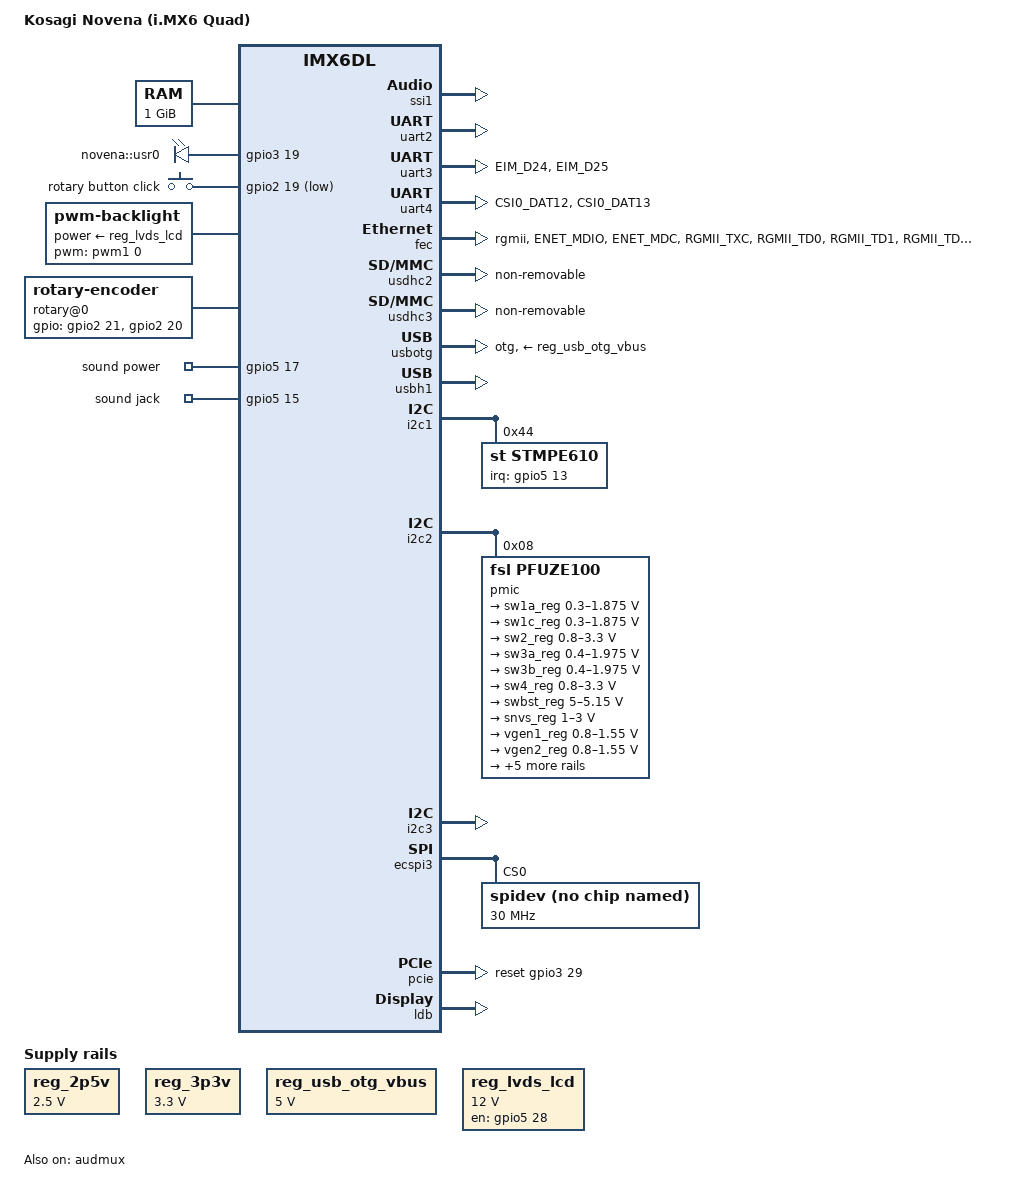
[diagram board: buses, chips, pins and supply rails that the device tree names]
/*
 * Copyright 2012 Freescale Semiconductor, Inc.
 * Copyright 2011 Linaro Ltd.
 *
 * The code contained herein is licensed under the GNU General Public
 * License. You may obtain a copy of the GNU General Public License
 * Version 2 or later at the following locations:
 *
 * http://www.opensource.org/licenses/gpl-license.html
 * http://www.gnu.org/copyleft/gpl.html
 */

/dts-v1/;
/*#include "imx6q.dtsi"*/
#include "imx6dl.dtsi"

/ {
	model = "Kosagi Novena (i.MX6 Quad)";
	/*	compatible = "fsl,imx6q-novena", "fsl,imx6q"; */
	compatible = "fsl,imx6q-novena", "fsl,imx6q", "fsl,imx6dl"; 
        chosen {
                bootargs = "console=ttymxc1,115200 earlyprintk root=/dev/mmcblk0p2 rootwait rootfstype=ext4 ignore_loglevel";
        };

	memory {
		reg = <0x10000000 0x40000000>;
	};

	soc {
		gpu {
			compatible = "fsl,imx6q-gpu";
			clocks = <&clks 122>, <&clks 74>, <&clks 27>,
				<&clks 121>, <&clks 26>,
				<&clks 143>;
			clock-names = "gpu3d_clk", "gpu3d_shader_clk", "gpu3d_axi_clk",
				"gpu2d_clk", "gpu2d_axi_clk",
				"openvg_axi_clk";
			interrupts = <0 9 0x04>, <0 10 0x04>, <0 11 0x04>;
			interrupt-names = "irq-3d", "irq-2d", "irq-vg";
			reg = <0 0>, <0x00130000 0x4000>, <0x00134000 0x4000>, <0x02204000 0x4000>;
			reg-names = "phys-addr", "iobase-3d", "iobase-2d", "iobase-vg";
		};

		vpu {
			compatible = "fsl,imx6q-vpu";
			clocks = <&clks 122>, <&clks 74>, <&clks 27>,
				<&clks 121>, <&clks 26>,
				<&clks 143>,
				<&clks 168>, <&clks 168>;
			clock-names = "gpu3d_core", "gpu3d_shader", "gpu3d_axi_clk",
				"gpu2d_core", "gpu2d_axi",
				"openvg_axi",
				"vpu_axi", "vpu_clk";
			interrupts = <0 12 0x04>, <0 3 0x04>;
			interrupt-names = "vpu_ipi_irq", "vpu_jpu_irq";
			reg = <0x02040000 0x4000>;
			reg-names = "vpu_regs";
			iram-size = <0x21000>;
		};
	};

	regulators {
		compatible = "simple-bus";

		reg_2p5v: 2p5v {
			compatible = "regulator-fixed";
			regulator-name = "2P5V";
			regulator-min-microvolt = <2500000>;
			regulator-max-microvolt = <2500000>;
			regulator-always-on;
		};

		reg_3p3v: 3p3v {
			compatible = "regulator-fixed";
			regulator-name = "3P3V";
			regulator-min-microvolt = <3300000>;
			regulator-max-microvolt = <3300000>;
			regulator-always-on;
		};

		reg_usb_otg_vbus: usb_otg_vbus {
			compatible = "regulator-fixed";
			regulator-name = "usb_otg_vbus";
			regulator-min-microvolt = <5000000>;
			regulator-max-microvolt = <5000000>;
			//gpio = <&gpio3 22 0>;
			enable-active-high;
		};

		reg_lvds_lcd: lcd-regulator {
			compatible = "regulator-fixed";

			regulator-name = "lcd-lvds-power";
			regulator-boot-on;
			regulator-min-microvolt = <12000000>;
			regulator-max-microvolt = <12000000>;
			startup-delay-us = <500000>;

			gpio = <&gpio5 28 0>;
			enable-active-high;
		};
	};

	leds {
		compatible = "gpio-leds";
		heartbeat {
			label = "novena::usr0";
			gpios = <&gpio3 19 0>;
			linux,default-trigger = "heartbeat";
		};
	};

	gpio_keys {
		compatible = "gpio-keys";
		/*
		button@1 {
			label = "user button 1";
			linux,code = <0x100>;
			gpios = <&gpio2 22 0>;
			debounce-interval = <20>;
			gpio-key,wakeup = <1>;
		};
		*/

		rotary_click@1 {
			label = "rotary button click";
			linux,code = <0x1c>;
			gpios = <&gpio2 19 1>;
			debounce-interval = <20>;
			gpio-key,wakeup = <1>;
		};
	};

        backlight {
                compatible = "pwm-backlight";
                pwms = <&pwm1 0 100000>;
                brightness-levels = <0 3 6 12 16 24 32 48 64 96 128 192 255>;
                default-brightness-level = <12>;
		power-supply = <&reg_lvds_lcd>;
		status = "okay";
        };

	rotary@0 {
		compatible = "rotary-encoder";
		gpios = <&gpio2 21 0>, <&gpio2 20 0>;
		linux,axis = <8>; /* REL_WHEEL */
		rotary-encoder,relative-axis;
		rotary-encoder,half-period;
	};

	sound {
		compatible = "fsl,imx-audio-novena";
		model = "imx-audio-novena";
		clocks = <&clks 169>, <&clks 57>, <&clks 173>, <&clks 203>, <&clks 201>;
                clock-names = "cko1", "cko1_sel", "pll4_audio", "pll4_post_div", "cko_sel";
		ssi-controller = <&ssi1>;
		audio-codec = <&codec>;
		power-gpio = <&gpio5 17 0>;
		jack-gpio = <&gpio5 15 0>;
		audio-routing =
			"MIC_IN", "Mic Jack",
			"Mic Jack", "Mic Bias",
			"Headphone Jack", "HP_OUT",
			"Ext Spk", "SPK_OUT";
		mux-int-port = <1>;
		mux-ext-port = <3>;
	};

};

&ssi1 {
	fsl,mode = "i2s-slave";
	status = "okay";
};

&uart2 {
	status = "okay";
	pinctrl-names = "default";
	pinctrl-0 = <&pinctrl_uart2_1>;
};

&uart3 {
	status = "okay";
	pinctrl-names = "default";
	pinctrl-0 = <&pinctrl_uart3_novena>;
};

&uart4 {
	status = "okay";
	pinctrl-names = "default";
	pinctrl-0 = <&pinctrl_uart4_2>;
};

&iomuxc {
	pinctrl-names = "default";
	pinctrl-0 = <&pinctrl_hog>;

	hog {
		pinctrl_hog: hoggrp {
			fsl,pins = <
				/* Here to prevent I2C from leaking */
				MX6QDL_PAD_GPIO_3__GPIO1_IO03 0x80000000
				MX6QDL_PAD_GPIO_5__GPIO1_IO05 0x80000000
				MX6QDL_PAD_GPIO_6__GPIO1_IO06 0x80000000

				/* Audio power switch */
				MX6QDL_PAD_DISP0_DAT23__GPIO5_IO17 0x80000000 /* Write protect */

				/* uSDHC2 */
				MX6QDL_PAD_GPIO_2__GPIO1_IO02   0x80000000 /* Write protect */
				MX6QDL_PAD_GPIO_4__GPIO1_IO04   0x80000000 /* Card detect */

				/* Ethernet reset */
				MX6QDL_PAD_EIM_D23__GPIO3_IO23  0x80000000

				/* Headphone plug */
				MX6QDL_PAD_DISP0_DAT21__GPIO5_IO15 0x80000000
				MX6QDL_PAD_GPIO_0__CCM_CLKO1       0x80000000

				/* Touchscreen interrupt */
				MX6QDL_PAD_DISP0_DAT19__GPIO5_IO13 0x80000000

				/* GPIO LED */
				MX6QDL_PAD_EIM_D19__GPIO3_IO19  0x80000000

				/* PCI express */
				MX6QDL_PAD_EIM_D22__GPIO3_IO22  0x80000000 /* Wakeup */
				MX6QDL_PAD_EIM_D29__GPIO3_IO29  0x80000000 /* Reset */
				MX6QDL_PAD_GPIO_17__GPIO7_IO12  0x80000000 /* Power On */
				MX6QDL_PAD_EIM_A22__GPIO2_IO16  0x80000000 /* Wifi kill */

				/* FPGA power */
				MX6QDL_PAD_SD1_DAT1__GPIO1_IO17 0x80000000

				/* Taking these pins away from UART4 */
				MX6QDL_PAD_KEY_COL0__GPIO4_IO06 0x80000000
				MX6QDL_PAD_KEY_ROW0__GPIO4_IO07 0x80000000

				/* FPGA GPIOs */
				MX6QDL_PAD_EIM_A16__GPIO2_IO22	0x80000000
				MX6QDL_PAD_EIM_A17__GPIO2_IO21	0x80000000
				MX6QDL_PAD_EIM_A18__GPIO2_IO20	0x80000000
				MX6QDL_PAD_EIM_A19__GPIO2_IO19  0x80000000
				MX6QDL_PAD_EIM_CS0__GPIO2_IO23	0x80000000
				MX6QDL_PAD_EIM_CS1__GPIO2_IO24	0x80000000
				MX6QDL_PAD_EIM_DA0__GPIO3_IO00	0x80000000
				MX6QDL_PAD_EIM_DA1__GPIO3_IO01	0x80000000
				MX6QDL_PAD_EIM_DA10__GPIO3_IO10	0x80000000
				MX6QDL_PAD_EIM_DA11__GPIO3_IO11	0x80000000
				MX6QDL_PAD_EIM_DA12__GPIO3_IO12	0x80000000
				MX6QDL_PAD_EIM_DA13__GPIO3_IO13	0x80000000
				MX6QDL_PAD_EIM_DA14__GPIO3_IO14	0x80000000
				MX6QDL_PAD_EIM_DA15__GPIO3_IO15	0x80000000
				MX6QDL_PAD_EIM_DA2__GPIO3_IO02	0x80000000
				MX6QDL_PAD_EIM_DA3__GPIO3_IO03	0x80000000
				MX6QDL_PAD_EIM_DA4__GPIO3_IO04	0x80000000
				MX6QDL_PAD_EIM_DA5__GPIO3_IO05	0x80000000
				MX6QDL_PAD_EIM_DA6__GPIO3_IO06	0x80000000
				MX6QDL_PAD_EIM_DA7__GPIO3_IO07	0x80000000
				MX6QDL_PAD_EIM_DA8__GPIO3_IO08	0x80000000
				MX6QDL_PAD_EIM_DA9__GPIO3_IO09	0x80000000
				MX6QDL_PAD_EIM_EB0__GPIO2_IO28	0x80000000
				MX6QDL_PAD_EIM_EB1__GPIO2_IO29	0x80000000
				MX6QDL_PAD_EIM_LBA__GPIO2_IO27	0x80000000
				MX6QDL_PAD_EIM_OE__GPIO2_IO25	0x80000000
				MX6QDL_PAD_EIM_RW__GPIO2_IO26	0x80000000
				MX6QDL_PAD_EIM_WAIT__GPIO5_IO00	0x80000000
				MX6QDL_PAD_DISP0_DAT3__GPIO4_IO24	0x80000000
				MX6QDL_PAD_DISP0_DAT4__GPIO4_IO25	0x80000000
				MX6QDL_PAD_DISP0_DAT5__GPIO4_IO26	0x80000000
				MX6QDL_PAD_DISP0_DAT6__GPIO4_IO27	0x80000000
				MX6QDL_PAD_DISP0_DAT7__GPIO4_IO28	0x80000000
				MX6QDL_PAD_DISP0_DAT11__GPIO5_IO05	0x80000000
				MX6QDL_PAD_SD1_DAT3__GPIO1_IO21	0x80000000
				MX6QDL_PAD_DI0_PIN15__GPIO4_IO17	0x80000000
				MX6QDL_PAD_DI0_PIN3__GPIO4_IO19	0x80000000
			>;
		};
	};

	enet {
		pinctrl_enet_novena: enetgrp-novena {
			fsl,pins = <
				MX6QDL_PAD_ENET_MDIO__ENET_MDIO       0x1b0b0
				MX6QDL_PAD_ENET_MDC__ENET_MDC         0x1b0b0
				//MX6QDL_PAD_RGMII_TXC__RGMII_TXC_DDR3  0x1b020
				MX6QDL_PAD_RGMII_TXC__RGMII_TXC       0x1b020
				MX6QDL_PAD_RGMII_TD0__RGMII_TD0       0x1b028
				MX6QDL_PAD_RGMII_TD1__RGMII_TD1       0x1b028
				MX6QDL_PAD_RGMII_TD2__RGMII_TD2       0x1b028
				MX6QDL_PAD_RGMII_TD3__RGMII_TD3       0x1b028
				MX6QDL_PAD_RGMII_TX_CTL__RGMII_TX_CTL 0x1b028
				MX6QDL_PAD_ENET_REF_CLK__ENET_TX_CLK  0x1b0b0
				MX6QDL_PAD_RGMII_RXC__RGMII_RXC       0x1b0b0
				MX6QDL_PAD_RGMII_RD0__RGMII_RD0       0x1b0b0
				MX6QDL_PAD_RGMII_RD1__RGMII_RD1       0x1b0b0
				MX6QDL_PAD_RGMII_RD2__RGMII_RD2       0x1b0b0
				MX6QDL_PAD_RGMII_RD3__RGMII_RD3       0x1b0b0
				MX6QDL_PAD_RGMII_RX_CTL__RGMII_RX_CTL 0x1b0b0
				MX6QDL_PAD_GPIO_16__ENET_REF_CLK      0x4001b0a8
			>;
		};
	};

	uart4 {
		pinctrl_uart4_2: uart4grp-2 {
			fsl,pins = <
				MX6QDL_PAD_CSI0_DAT12__UART4_TX_DATA 0x1b0b1
				MX6QDL_PAD_CSI0_DAT13__UART4_RX_DATA 0x1b0b1
			>;
		};
	};

	uart3 {
		pinctrl_uart3_novena: uart3grp-novena {
			fsl,pins = <
				MX6QDL_PAD_EIM_D24__UART3_TX_DATA 0x1b0b1
				MX6QDL_PAD_EIM_D25__UART3_RX_DATA 0x1b0b1
			>;
		};
	};
};

&fec {
	pinctrl-names = "default";
	pinctrl-0 = <&pinctrl_enet_novena>;
	phy-mode = "rgmii";
	phy-reset-gpios = <&gpio3 23 0>;
	mac-address = [00 22 C6 87 72 03];
	rxc-skew-ps = <3000>;
	rxdv-skew-ps = <0>;
	txc-skew-ps = <3000>;
	txen-skew-ps = <0>;
	rxd0-skew-ps = <0>;
	rxd1-skew-ps = <0>;
	rxd2-skew-ps = <0>;
	rxd3-skew-ps = <0>;
	txd0-skew-ps = <3000>;
	txd1-skew-ps = <3000>;
	txd2-skew-ps = <3000>;
	txd3-skew-ps = <3000>;
	status = "okay";
};

&usdhc2 {
	pinctrl-names = "default";
	pinctrl-0 = <&pinctrl_usdhc2_1>;
	non-removable;
	status = "okay";
};

&usdhc3 {
	pinctrl-names = "default";
	pinctrl-0 = <&pinctrl_usdhc3_1>;
	non-removable;
	status = "okay";
};

&usbotg {
	vbus-supply = <&reg_usb_otg_vbus>;
	dr_mode = "otg";
	pinctrl-names = "default";
	pinctrl-0 = <&pinctrl_usbotg_2>;
	disable-over-current;
	status = "okay";
};

&usbh1 {
	status = "okay";
};

&audmux {
	status = "okay";
	pinctrl-names = "default";
	pinctrl-0 = <&pinctrl_audmux_2>;
};

&i2c1 {
	pinctrl-names = "default";
	pinctrl-0 = <&pinctrl_i2c1_1>;
	status = "okay";

	stmpe610@0 {
		compatible = "st,stmpe610";
		#address-cells = <1>;
		#size-cells = <0>;
		reg = <0x44>;
		interrupts = <13 0x0>;
		interrupt-parent = <&gpio5>;
		id = <0>;
		irq-trigger = <0x1>;

		/*
		 * Note: Must invert in Xinput with:
		 * xinput set-prop 8 'Evdev Axis Inversion' 1 0
		 */
		stmpe_touchscreen {
			compatible = "st,stmpe-ts";
			st,sample-time = <4>;
			st,mod-12b = <1>;
			st,ref-sel = <0>;
			st,adc-freq = <1>;

			st,ave-ctrl = <1>;
			st,touch-det-delay = <1>;
			st,settling = <3>;

			st,fraction-z = <6>;
			st,i-drive = <1>;
		};
/*
		stmpe_gpio {
			compatible = "st,stmpe-gpio";
			gpio-controller;
			#gpio-cells = <2>;
		};
*/
	};
};

&i2c2 {
	pinctrl-names = "default";
	pinctrl-0 = <&pinctrl_i2c2_1>;
	status = "okay";

	pmic: pfuze100@08 {
		compatible = "fsl,pfuze100";
		reg = <0x08>;

		regulators {
			sw1a_reg: sw1ab {
				regulator-min-microvolt = <300000>;
				regulator-max-microvolt = <1875000>;
				regulator-boot-on;
				regulator-always-on;
				regulator-ramp-delay = <6250>;
			};

			sw1c_reg: sw1c {
				regulator-min-microvolt = <300000>;
				regulator-max-microvolt = <1875000>;
				regulator-boot-on;
				regulator-always-on;
			};

			sw2_reg: sw2 {
				regulator-min-microvolt = <800000>;
				regulator-max-microvolt = <3300000>;
				regulator-boot-on;
				regulator-always-on;
			};

			sw3a_reg: sw3a {
				regulator-min-microvolt = <400000>;
				regulator-max-microvolt = <1975000>;
				regulator-boot-on;
				regulator-always-on;
			};

			sw3b_reg: sw3b {
				regulator-min-microvolt = <400000>;
				regulator-max-microvolt = <1975000>;
				regulator-boot-on;
				regulator-always-on;
			};

			sw4_reg: sw4 {
				regulator-min-microvolt = <800000>;
				regulator-max-microvolt = <3300000>;
			};

			swbst_reg: swbst {
				regulator-min-microvolt = <5000000>;
				regulator-max-microvolt = <5150000>;
			};

			snvs_reg: vsnvs {
				regulator-min-microvolt = <1000000>;
				regulator-max-microvolt = <3000000>;
				regulator-boot-on;
				regulator-always-on;
			};

			vref_reg: vrefddr {
				regulator-boot-on;
				regulator-always-on;
			};

			vgen1_reg: vgen1 {
				regulator-min-microvolt = <800000>;
				regulator-max-microvolt = <1550000>;
			};

			vgen2_reg: vgen2 {
				regulator-min-microvolt = <800000>;
				regulator-max-microvolt = <1550000>;
			};

			vgen3_reg: vgen3 {
				regulator-min-microvolt = <1800000>;
				regulator-max-microvolt = <3300000>;
			};

			vgen4_reg: vgen4 {
				regulator-min-microvolt = <1800000>;
				regulator-max-microvolt = <3300000>;
				regulator-always-on;
			};

			vgen5_reg: vgen5 {
				regulator-min-microvolt = <1800000>;
				regulator-max-microvolt = <3300000>;
				regulator-always-on;
			};

			vgen6_reg: vgen6 {
				regulator-min-microvolt = <1800000>;
				regulator-max-microvolt = <3300000>;
				regulator-always-on;
			};

			coin_reg: coin {
				regulator-min-microvolt = <3300000>;
				regulator-max-microvolt = <3300000>;
				regulator-always-on;
				regulator-boot-on;
			};
		};
	};
};

&i2c3 {
	pinctrl-names = "default";
	pinctrl-0 = <&pinctrl_i2c3_1>;
	status = "okay";

	codec: es8328@11 {
		compatible = "everest,es8328";
		reg = <0x11>;
		status = "disabled";
	};

	/* Utility EEPROM */
};

&ecspi3 {
	pinctrl-names = "default";
	pinctrl-0 = <&pinctrl_ecspi3_1>;
	fsl,spi-num-chipselects = <3>;
	status = "okay";

	spidev@0x00 {
		compatible = "spidev";
		spi-max-frequency = <30000000>;
		reg = <0>;
	};
};

&pcie {
	reset-gpio = <&gpio3 29 0>;
	power-on-gpio = <&gpio7 12 0>;
	wake-up-gpio = <&gpio3 22 0>;
	disable-gpio = <&gpio2 16 0>;
};

&ldb {
	status = "okay";
        lvds-channel@0 {
		status = "okay";
		fsl,data-mapping = "spwg";
		fsl,data-width = <24>;
                display-timings {
			800x480p60 {
				clock-frequency = <29500000>;
				hactive = <800>;
				vactive = <480>;
				hback-porch = <100>;
				hfront-porch = <50>;
				hsync-len = <42>;
				vback-porch = <10>;
				vfront-porch = <5>;
				vsync-len = <5>;
				hsync-active = <1>;
				vsync-active = <1>;
			};
                };
        };
};

&hdmi {
	ddc = <&i2c2>;
	display-timings {
		1280x720p60 {
			clock-frequency = <74176000>;
			hactive = <1280>;
			vactive = <720>;
			hback-porch = <110>;
			hfront-porch = <220>;
			hsync-len = <40>;
			vback-porch = <20>;
			vfront-porch = <5>;
			vsync-len = <5>;
			hsync-active = <1>;
			vsync-active = <1>;
		};
	};
};


/*
&caam {
	compatible = "fsl,sec-v4.0";
	#address-cells = <1>;
	#size-cells = <1>;
	reg = <0x02100000 0x40000>;
	ranges = <0 0x02100000 0x40000>;

	sec_jr0: jr@1000 {
		compatible = "fsl,sec-v4.0-job-ring";
		reg = <0x100000 0x1000>;
		interrupts = <0 105 0x04>;
	};

	sec_jr1: jr@2000 {
		compatible = "fsl,sec-v4.0-job-ring";
		reg = <0x200000 0x1000>;
		interrupts = <0 106 0x04>;
	};
};
*/

